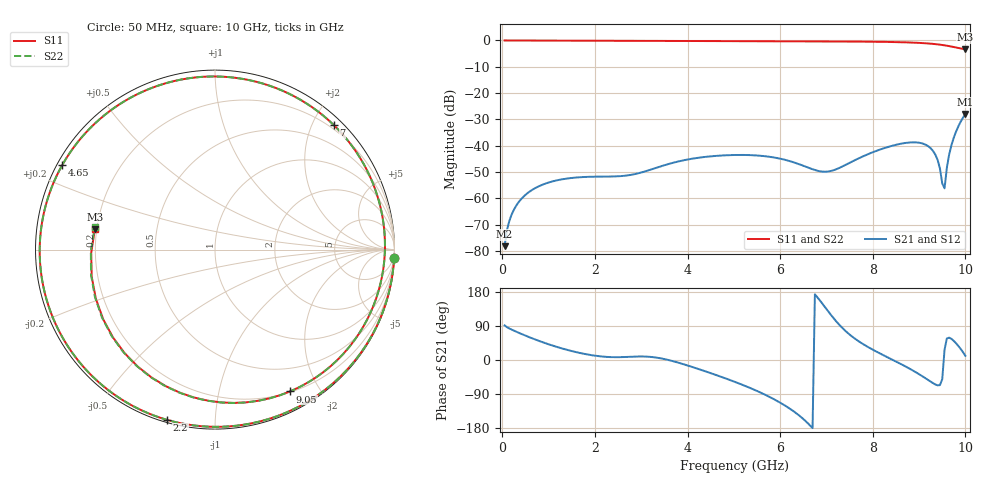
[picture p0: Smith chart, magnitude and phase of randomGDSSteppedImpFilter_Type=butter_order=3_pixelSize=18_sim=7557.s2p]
! freq	dB(S11)	phase(S11)	dB(S12)	phase(S12)
!  dB(S21)	phase(S21)	dB(S22)	phase(S22)
!S-par simulation data
#  GHz  S  DB  R 50
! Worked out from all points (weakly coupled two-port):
!   200 points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, 50 MHz to 10 GHz, reference 50 ohm
!   highest |S21| = -27.91 dB at 10 GHz (marker M1); lowest = -78.1 dB at 50 MHz (marker M2)
!   lowest |S11| = -3.4 dB at 10 GHz (marker M3), VSWR 5.23, Z = 9.62 + j4.12 ohm
!   |S11| at or under -10 dB: nowhere
!   |S22| runs from -3.3 to 0.0 dB; largest |S21 - S12| = 0
!   S11 on the Smith chart (normalised r, x): 50 MHz: 0, -44; 2.2 GHz: 0.01, -0.76; 4.65 GHz: 0.01, +0.26; 7 GHz: 0.13, +2.33; 9.05 GHz: 0.21, -1.64; 10 GHz: 0.19, +0.08
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0.05  -0.00 -2.6  -78.10 91.5  -78.10 91.5  -0.00 -2.6
0.1  -0.01 -5.1  -72.11 86.7  -72.11 86.7  -0.01 -5.1
0.2  -0.02 -10.2  -66.15 80.4  -66.15 80.4  -0.02 -10.2
0.5  -0.03 -25.3  -58.62 64.3  -58.62 64.3  -0.03 -25.3
1.15  -0.07 -57.3  -53.22 35.6  -53.22 35.6  -0.07 -57.3
1.75  -0.10 -85.5  -51.85 16.7  -51.85 16.7  -0.10 -85.5
2.2  -0.13 -105.8  -51.69 8.7  -51.69 8.7  -0.13 -105.8
3.4  -0.18 -157.0  -47.92 4.9  -47.92 4.9  -0.18 -157.0
4  -0.21 178.1  -45.20 -14.4  -45.20 -14.4  -0.21 178.1
4.65  -0.24 150.9  -43.78 -41.1  -43.78 -41.1  -0.24 150.9
5.05  -0.26 133.9  -43.47 -59.0  -43.47 -59.0  -0.26 133.9
5.9  -0.31 96.7  -44.53 -105.7  -44.53 -105.7  -0.31 96.7
6.7  -0.35 60.3  -48.90 -179.8  -48.90 -179.8  -0.35 60.3
7  -0.36 46.4  -49.82 134.5  -49.82 134.5  -0.36 46.4
7.7  -0.43 13.3  -44.72 49.1  -44.72 49.1  -0.43 13.2
8.35  -0.57 -19.4  -40.33 5.3  -40.33 5.3  -0.57 -19.6
9.05  -0.97 -62.1  -39.01 -41.3  -39.01 -41.3  -0.98 -62.6
9.35  -1.39 -87.5  -43.32 -64.5  -43.32 -64.5  -1.39 -88.1
9.55  -1.84 -109.8  -56.15 27.4  -56.15 27.4  -1.85 -110.6
9.6  -1.99 -116.4  -48.29 57.0  -48.29 57.0  -1.99 -117.2
9.7  -2.32 -131.0  -39.67 55.7  -39.67 55.7  -2.32 -131.9
10  -3.36 170.2  -27.91 11.1  -27.91 11.1  -3.33 169.3
